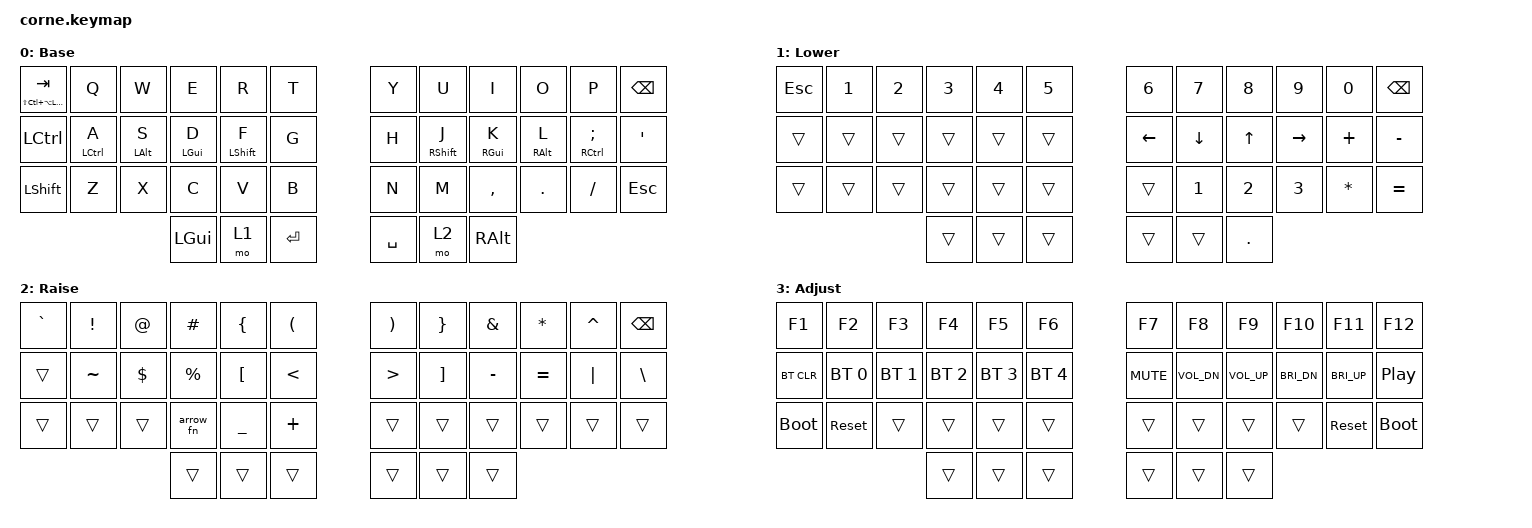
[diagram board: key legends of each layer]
/*
 * Corne Layout - Symmetrical Dev v4
 *
 * LAYER 0: DEFAULT  - QWERTY + Home Row Mods (A/S/D/F = Ctrl/Alt/Cmd/Shift)
 * LAYER 1: LOWER    - Numbers, Arrows, Numpad
 * LAYER 2: RAISE    - Symbols, Brackets, Arrow Function (=>)
 * LAYER 3: ADJUST   - F-Keys, Bluetooth, Media (activated by LOWER + RAISE)
 *
 * Combos: Z+X (Screenshot Area) | X+C (Screen Recording) | J+K (ESC)
 */

#include <behaviors.dtsi>
#include <dt-bindings/zmk/keys.h>
#include <dt-bindings/zmk/bt.h>

/ {
    macros {
        arrow_fn: arrow_fn {
            compatible = "zmk,behavior-macro";
            #binding-cells = <0>;
            wait-ms = <30>;
            tap-ms = <30>;
            bindings = <&kp EQUAL &kp GT>;
        };
    };

    behaviors {
        hm: homerow_mods {
            compatible = "zmk,behavior-hold-tap";
            #binding-cells = <2>;
            tapping-term-ms = <320>;
            quick-tap-ms = <225>;
            require-prior-idle-ms = <250>;
            flavor = "balanced";
            bindings = <&kp>, <&kp>;
        };
    };

    combos {
        compatible = "zmk,combos";

        // Z + X = Screenshot Area (Cmd+Shift+4 on macOS)
        combo_screenshot {
            timeout-ms = <50>;
            key-positions = <25 26>;
            bindings = <&kp LS(LG(N4))>;
        };

        // X + C = Screen Recording (Cmd+Shift+5 on macOS)
        combo_screenrec {
            timeout-ms = <50>;
            key-positions = <26 27>;
            bindings = <&kp LS(LG(N5))>;
        };

        // J + K = ESC
        combo_esc {
            timeout-ms = <50>;
            key-positions = <19 20>;
            bindings = <&kp ESC>;
        };
    };

    conditional_layers {
        compatible = "zmk,conditional-layers";
        tri_layer {
            if-layers = <1 2>;
            then-layer = <3>;
        };
    };

    keymap {
        compatible = "zmk,keymap";

        default_layer {
// -----------------------------------------------------------------------------------------
// | TAB  |  Q  |  W  |  E  |  R  |  T  |   |  Y  |  U   |  I  |  O  |  P  | BSPC |
// | CTRL | A/⌃ | S/⌥ | D/⌘ | F/⇧ |  G  |   |  H  | J/⇧  | K/⌘ | L/⌥ | ;/⌃ |  '   |
// | SHFT |  Z  |  X  |  C  |  V  |  B  |   |  N  |  M   |  ,  |  .  |  /  | ESC  |
//                     | CMD | LWR | SPC |   | ENT | RSE  | ALT |
            display-name = "Base";
            bindings = <
   &mt LS(LC(LA(LGUI))) TAB &kp Q       &kp W      &kp E      &kp R       &kp T       &kp Y &kp U       &kp I      &kp O      &kp P          &kp BSPC
   &kp LCTRL &hm LCTRL A &hm LALT S &hm LGUI D &hm LSHFT F &kp G       &kp H &hm RSHFT J &hm RGUI K &hm RALT L &hm RCTRL SEMI &kp SQT
   &kp LSHFT &kp Z       &kp X      &kp C      &kp V       &kp B       &kp N &kp M       &kp COMMA  &kp DOT    &kp FSLH       &kp ESC
                                     &kp LGUI   &mo 1       &kp RET     &kp SPACE &mo 2   &kp RALT
            >;
        };

        lower_layer {
// -----------------------------------------------------------------------------------------
// | ESC  |  1  |  2  |  3  |  4  |  5  |   |  6  |  7  |  8  |  9  |  0  | DEL  |
// |      |  ←  |  ↓  |  ↑  |  →  |     |   |     |  4  |  5  |  6  |  +  |  -   |
// |      |     |     |     |     |     |   |     |  1  |  2  |  3  |  *  |  =   |
//                    |     |     |     |   |     |     |  .  |
            display-name = "Lower";
            bindings = <
   &kp ESC &kp N1   &kp N2   &kp N3 &kp N4    &kp N5    &kp N6 &kp N7 &kp N8 &kp N9 &kp N0   &kp BSPC
   &trans  &trans   &trans   &trans &trans    &trans    &kp LEFT &kp DOWN &kp UP &kp RIGHT &kp PLUS &kp MINUS
   &trans  &trans   &trans   &trans &trans    &trans    &trans &kp N1 &kp N2 &kp N3 &kp STAR &kp EQUAL
                             &trans &trans    &trans    &trans &trans &kp DOT
            >;
        };

        raise_layer {
// -----------------------------------------------------------------------------------------
// |  `   |  !  |  @  |  #  |  {  |  (  |   |  )  |  }  |  &  |  *  |  ^  | BSPC |
// |  ~   |  $  |  %  |     |  [  |  <  |   |  >  |  ]  |  -  |  =  |  |  |  \   |
// |      |     |     | =>  |  _  |  +  |   |     |     |     |     |     |      |
//                    |     |     |     |   |     |     |     |
            display-name = "Raise";
            bindings = <
   &kp GRAVE &kp EXCL &kp AT    &kp HASH  &kp LBRC  &kp LPAR    &kp RPAR &kp RBRC &kp AMPS  &kp STAR  &kp CARET &kp BSPC
   &trans    &kp TILDE &kp DLLR &kp PRCNT &kp LBKT  &kp LT      &kp GT   &kp RBKT &kp MINUS &kp EQUAL &kp PIPE  &kp BSLH
   &trans    &trans   &trans    &arrow_fn &kp UNDER &kp PLUS    &trans   &trans   &trans    &trans    &trans    &trans
                                &trans    &trans    &trans      &trans   &trans   &trans
            >;
        };

        adjust_layer {
// -----------------------------------------------------------------------------------------
// |  F1  |  F2  |  F3  |  F4  |  F5  |  F6  |   |  F7  |  F8  |  F9  | F10  | F11  | F12  |
// | BTCLR| BT 0 | BT 1 | BT 2 | BT 3 | BT 4 |   | MUTE | VOL- | VOL+ | BRI- | BRI+ | PLAY |
// | BOOT | RST  |      |      |      |      |   |      |      |      |      | RST  | BOOT |
//                      |      |      |      |   |      |      |      |
            display-name = "Adjust";
            bindings = <
   &kp F1      &kp F2       &kp F3       &kp F4       &kp F5       &kp F6         &kp F7     &kp F8       &kp F9       &kp F10      &kp F11      &kp F12
   &bt BT_CLR  &bt BT_SEL 0 &bt BT_SEL 1 &bt BT_SEL 2 &bt BT_SEL 3 &bt BT_SEL 4   &kp C_MUTE &kp C_VOL_DN &kp C_VOL_UP &kp C_BRI_DN &kp C_BRI_UP &kp C_PP
   &bootloader &sys_reset   &trans       &trans       &trans       &trans         &trans     &trans       &trans       &trans       &sys_reset   &bootloader
                                         &trans       &trans       &trans         &trans     &trans       &trans
            >;
        };

    };
};
